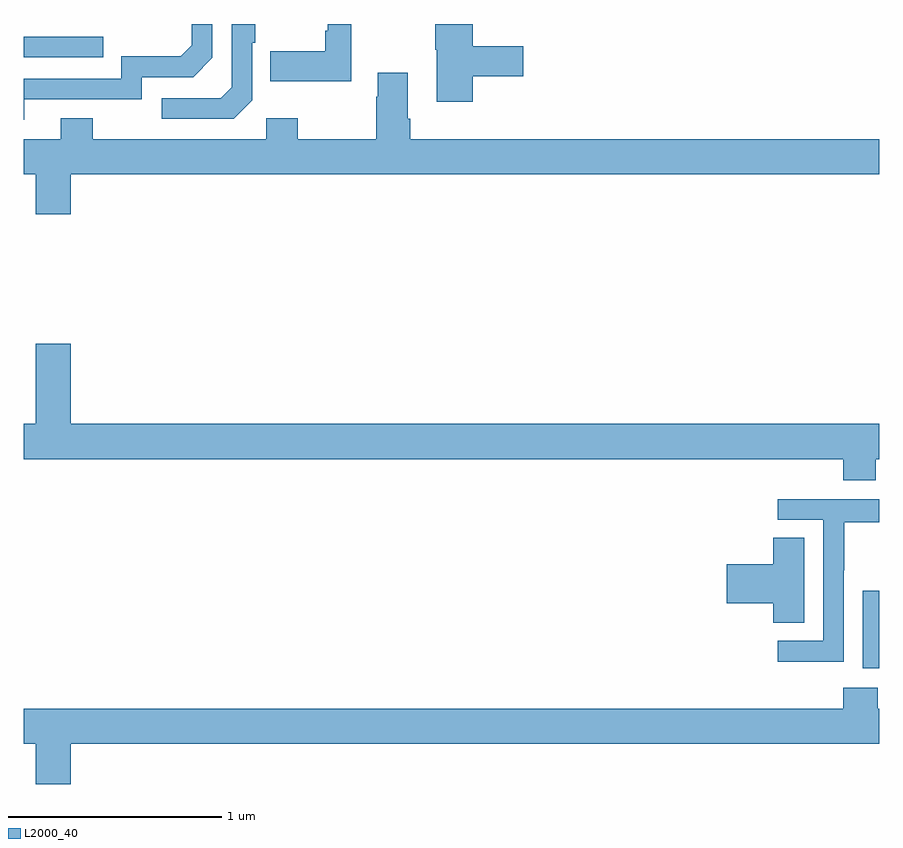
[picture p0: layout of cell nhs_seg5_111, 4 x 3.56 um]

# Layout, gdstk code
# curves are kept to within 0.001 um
import gdstk
lib = gdstk.Library(unit=1e-6, precision=1e-09)
def R(c, l, rs):  # rectangles x0, y0, x1, y1
    for r in rs: c.add(gdstk.rectangle(r[:2], r[2:], *l))
def P(c, l, *ps):  # polygons
    for p in ps: c.add(gdstk.Polygon(p, *l))
L2000_40 = (2000, 40)

nhs_seg5_111 = lib.new_cell('nhs_seg5_111')
R(nhs_seg5_111, L2000_40, [(120.923,851.786,121,852.147), (117,854.643,117.371,854.739)])
P(nhs_seg5_111, L2000_40, [(117.001,854.448),(117.552,854.448),(117.552,854.55),(117.792,854.55),(117.882,854.64),(117.882,854.799),(117.786,854.799),(117.786,854.7),(117.733,854.647),(117.456,854.647),(117.456,854.544),(117,854.544),(117,854.352)],
  [(118.068,854.442),(118.068,854.711),(118.081,854.711),(118.081,854.799),(117.972,854.799),(117.972,854.502),(117.921,854.451),(117.645,854.451),(117.645,854.355),(117.981,854.355)],
  [(119.099,854.554),(119.335,854.554),(119.335,854.696),(119.099,854.696),(119.099,854.799),(118.924,854.799),(118.924,854.679),(118.931,854.679),(118.931,854.436),(119.099,854.436)],
  [(118.531,854.799),(118.422,854.799),(118.422,854.767),(118.41,854.767),(118.41,854.671),(118.153,854.671),(118.153,854.531),(118.531,854.531)],
  [(117.22,854.096),(121,854.096),(121,854.26),(118.808,854.26),(118.808,854.356),(118.795,854.356),(118.795,854.572),(118.655,854.572),(118.655,854.459),(118.648,854.459),(118.648,854.26),(118.281,854.26),(118.281,854.359),(118.134,854.359),(118.134,854.26),(117.321,854.26),(117.321,854.359),(117.173,854.359),(117.173,854.26),(117,854.26),(117,854.096),(117.056,854.096),(117.056,853.908),(117.22,853.908)],
  [(120.985,852.764),(121,852.764),(121,852.928),(117.22,852.928),(117.22,853.303),(117.056,853.303),(117.056,852.928),(117,852.928),(117,852.764),(120.833,852.764),(120.833,852.665),(120.985,852.665)],
  [(120.834,852.244),(120.837,852.244),(120.837,852.468),(121,852.468),(121,852.576),(120.525,852.576),(120.525,852.48),(120.738,852.48),(120.738,851.913),(120.525,851.913),(120.525,851.815),(120.834,851.815)],
  [(120.649,852.395),(120.506,852.395),(120.506,852.272),(120.288,852.272),(120.288,852.089),(120.506,852.089),(120.506,851.998),(120.649,851.998)],
  [(117.22,851.432),(121,851.432),(121,851.596),(120.993,851.596),(120.993,851.695),(120.833,851.695),(120.833,851.596),(117,851.596),(117,851.432),(117.056,851.432),(117.056,851.244),(117.22,851.244)])

lib.write_gds('nhs_seg5_111.gds')
